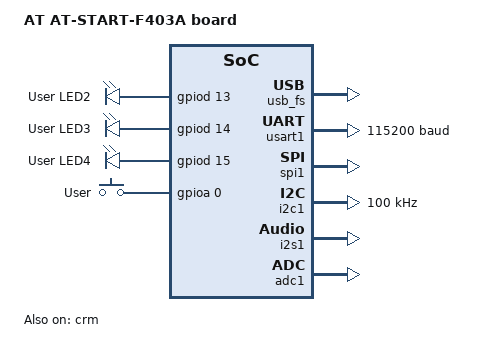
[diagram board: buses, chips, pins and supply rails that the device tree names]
/*
 * Copyright (c) 2025 Maxjta
 *
 * SPDX-License-Identifier: Apache-2.0
 */

/dts-v1/;
#include <at/at32f403a_407/at32f403avgt7.dtsi>
#include "at_start_f403a-pinctrl.dtsi"
#include <zephyr/dt-bindings/input/input-event-codes.h>

/ {
	model = "AT AT-START-F403A board";
	compatible = "at,at_start_f403a";

	chosen {
		zephyr,console = &usart1;
		zephyr,shell-uart = &usart1;
		zephyr,sram = &sram0;
		zephyr,flash = &flash0;
	};

	leds: leds {
		compatible = "gpio-leds";
		red_led: led2 {
			gpios = <&gpiod 13 GPIO_ACTIVE_HIGH>;
			label = "User LED2";
		};
		yellow_led: led3 {
			gpios = <&gpiod 14 GPIO_ACTIVE_HIGH>;
			label = "User LED3";
		};
		green_led: led4 {
			gpios = <&gpiod 15 GPIO_ACTIVE_HIGH>;
			label = "User LED4";
		};
	};

	gpio_keys {
		compatible = "gpio-keys";
		user_button: button {
			label = "User";
			gpios = <&gpioa 0 GPIO_ACTIVE_HIGH>;
			zephyr,code = <INPUT_KEY_0>;
		};
	};

	aliases {
		led0 = &red_led;
		led1 = &yellow_led;
		led2 = &green_led;
		sw0 = &user_button;
	};
};

&gpioa {
    status = "okay";
};

&gpiob {
    status = "okay";
};

&gpioc {
    status = "okay";
};

&gpiod {
    status = "okay";
};

&gpioe {
    status = "okay";
};

&clk_hick {
	status = "okay";
};

&clk_hext {
	clock-frequency = <8000000>;
	status = "okay";
};

&pll {
	mul = <48>;
	div_fu = <6>;
	xtpre = <1>;
	clocks = <&clk_hext>;
	status = "okay";
};

&sysclk {
	clock-frequency = <DT_FREQ_M(192)>;
	status = "okay";
};

&crm {
	clocks = <&pll>;
	ahb-prescaler = <1>;
	clock-frequency = <192000000>;
	apb1-prescaler = <2>;
	apb2-prescaler = <2>;
	status = "okay";
};

&usb_fs {
    status = "okay";
};

zephyr_udc0: &usb_fs {
	status = "okay";
};

&usart1 {
	pinctrl-0 = <&usart1_default>;
	pinctrl-names = "default";
	current-speed = <115200>;
	status = "okay";
};

&spi1 {
	status = "okay";
	pinctrl-0 = <&spi1_default>;
	pinctrl-names = "default";
	cs-gpios = <&gpioa 4 GPIO_ACTIVE_LOW>;
	dmas = <&dma1 1 9 1 0>, <&dma1 2 10 2 0>;
	dma-names = "rx", "tx";
};

&i2c1 {
	status = "okay";
	clock-frequency = <I2C_BITRATE_STANDARD>;
	pinctrl-0 = <&i2c1_default>;
	pinctrl-names = "default";
};

&dma1 {
	status = "okay";
};

&i2s1 {
	status = "okay";
	pinctrl-0 = <&i2s1_default>;
	pinctrl-names = "default";
	dmas = <&dma1 1 9 1 0>, <&dma1 2 10 2 0>;
	dma-names = "rx", "tx";
};

&adc1 {
	pinctrl-0 = <&adc1_default>;
	pinctrl-names = "default";
	at,adc-clock-source = "SYNC";
	at,adc-prescaler = <15>;
	status = "okay";
	dmas = <&dma1 3 1 (AT32_DMA_PERIPH_TO_MEMORY|AT32_DMA_NO_PERIPH_ADDR_INC| 
	                  AT32_DMA_MEMORY_ADDR_INC|AT32_DMA_PERIPH_WIDTH_16BIT|
					  AT32_DMA_MEMORY_WIDTH_16BIT|AT32_DMA_PRIORITY_HIGH) 0>;
	dma-names = "rx";
};

&flash0 {
	partitions {
		compatible = "fixed-partitions";
		#address-cells = <1>;
		#size-cells = <1>;

		/* 64KB for bootloader */
		boot_partition: partition@0 {
			label = "mcuboot";
			reg = <0x00000000 DT_SIZE_K(64)>;
			read-only;
		};

		/* storage: 64KB for settings */
		storage_partition: partition@10000 {
			label = "storage";
			reg = <0x00010000 DT_SIZE_K(64)>;
		};

		/* application image slot: 384KB */
		slot0_partition: partition@20000 {
			label = "image-0";
			reg = <0x00020000 DT_SIZE_K(384)>;
		};

		/* backup slot: 512KB */
		slot1_partition: partition@80000 {
			label = "image-1";
			reg = <0x00080000 DT_SIZE_K(512)>;
		};
	};
};
